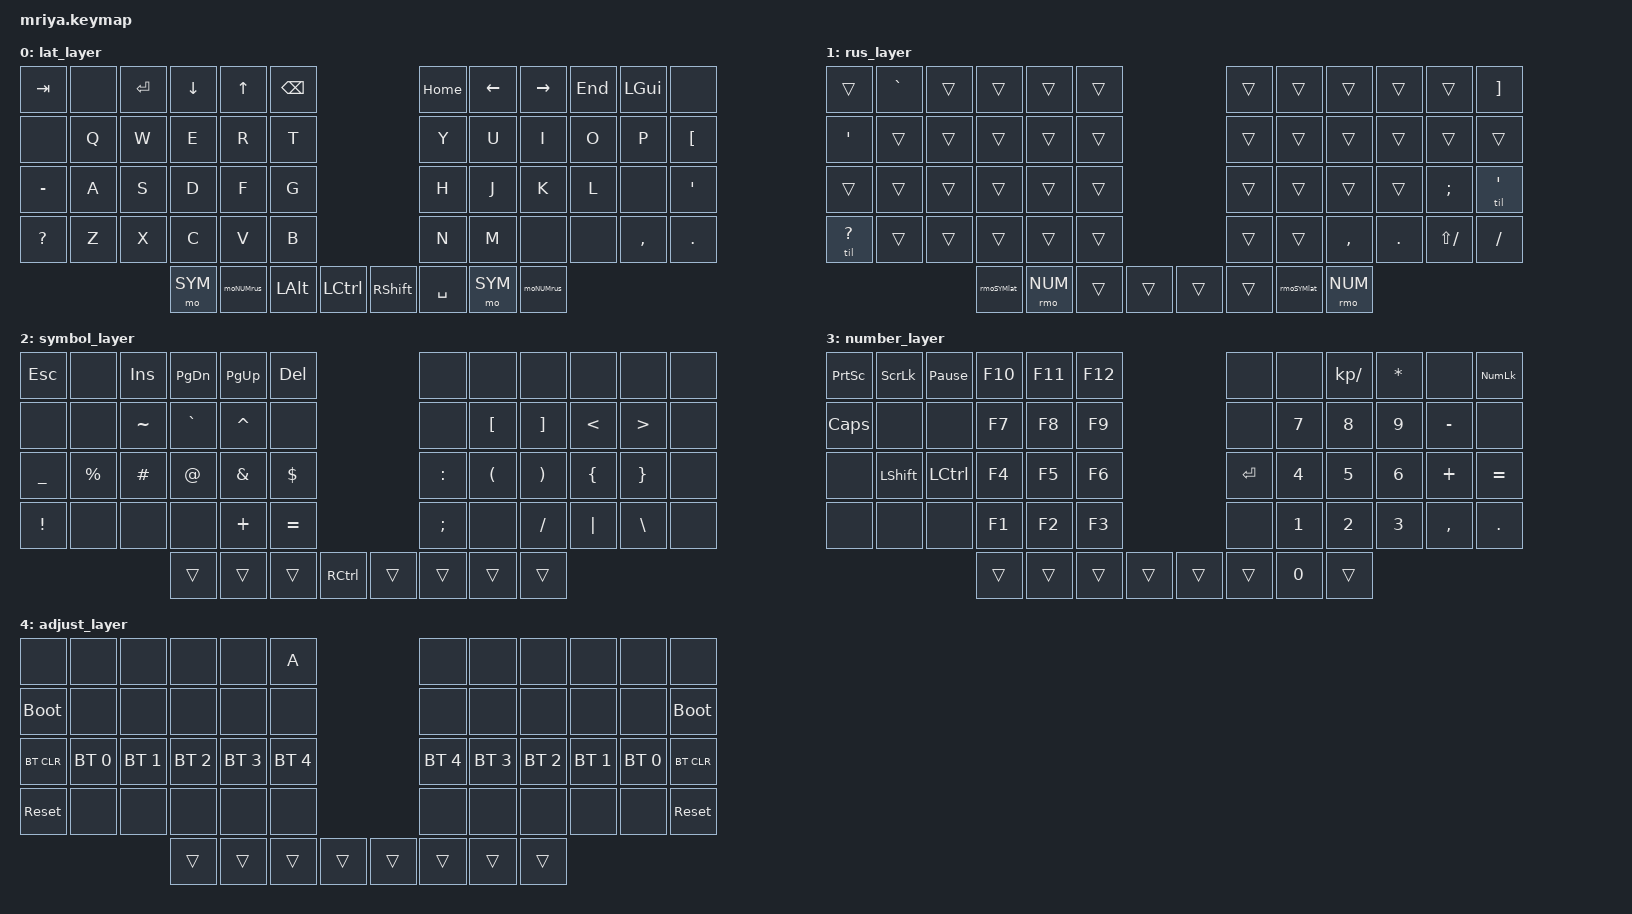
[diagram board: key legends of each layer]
/*
 * Copyright (c) 2023 Andrei Gaevskii
 *
 * SPDX-License-Identifier: MIT
 */

#include <behaviors.dtsi>
#include <dt-bindings/zmk/keys.h>
#include <dt-bindings/zmk/bt.h>

#define LAT 0
#define RUS 1
#define SYM 2
#define NUM 3
#define ADJ 4

#define LATON  &kp CAPS
#define RUSON  &kp LS(CAPS)

&lt { quick_tap_ms = <200>; };
&mt { quick_tap_ms = <200>; };

/ {
    macros {
        lat: lat {
            label = "lat";
            compatible = "zmk,behavior-macro";
            wait-ms = <0>;
            tap-ms = <0>;
            #binding-cells = <0>;
            bindings
                = <&macro_press LATON>
                , <&to LAT>
                , <&macro_release LATON>
                ;
        };
        rus: rus {
            label = "rus";
            compatible = "zmk,behavior-macro";
            wait-ms = <0>;
            tap-ms = <0>;
            #binding-cells = <0>;
            bindings
                = <&macro_press RUSON>
                , <&to RUS>
                , <&macro_release RUSON>
                ;
        };
        // tap in lat
        til: til {
            label = "til";
            compatible = "zmk,behavior-macro-one-param";
            wait-ms = <0>;
            tap-ms = <0>;
            #binding-cells = <1>;
            bindings
                = <&macro_tap LATON>
                , <&macro_param_1to1>
                , <&macro_press &kp MACRO_PLACEHOLDER>
                , <&macro_pause_for_release>
                , <&macro_param_1to1>
                , <&macro_release &kp MACRO_PLACEHOLDER>
                , <&macro_tap RUSON>
                ;
        };
        // &mo in rus
        rmo: rmo {
            label = "rmo";
            compatible = "zmk,behavior-macro-one-param";
            wait-ms = <0>;
            tap-ms = <0>;
            #binding-cells = <1>;
            bindings
                = <&macro_tap LATON>
                , <&macro_param_1to1>
                , <&macro_press &mo MACRO_PLACEHOLDER>
                , <&macro_pause_for_release>
                , <&macro_param_1to1>
                , <&macro_release &mo MACRO_PLACEHOLDER>
                , <&macro_tap RUSON>
                ;
        };
    };
    conditional_layers {
        compatible = "zmk,conditional-layers";
        tri_layer {
            if-layers = <SYM NUM>;
            then-layer = <ADJ>;
        };
    };    
    behaviors {
        moNUMrus: moNUMrus {
            compatible = "zmk,behavior-mod-morph";
            #binding-cells = <0>;
            bindings = <&mo NUM>, <&rus>;
            mods = <(MOD_LSFT|MOD_RSFT|MOD_LCTL|MOD_RCTL)>;
        };
        rmoSYMlat: rmoSYMlat {
            compatible = "zmk,behavior-mod-morph";
            #binding-cells = <0>;
            bindings = <&rmo SYM>, <&lat>;
            mods = <(MOD_LSFT|MOD_RSFT|MOD_LCTL|MOD_RCTL)>;
        };
    };    

    keymap {
        compatible = "zmk,keymap";

        lat_layer {
            bindings = <
&kp TAB       &none  &kp ENTER &kp DOWN &kp UP &kp BSPC /**********************/ &kp HOME &kp LEFT &kp RIGHT &kp END &kp LGUI  &none
&none         &kp Q  &kp W     &kp E    &kp R  &kp T    /**********************/ &kp Y    &kp U    &kp I     &kp O   &kp P     &kp LBKT
&kp MINUS     &kp A  &kp S     &kp D    &kp F  &kp G    /**********************/ &kp H    &kp J    &kp K     &kp L   &none     &kp APOS
&kp QUESTION  &kp Z  &kp X     &kp C    &kp V  &kp B    /**********************/ &kp N    &kp M    &none     &none   &kp COMMA &kp DOT

                               &mo SYM &moNUMrus &kp LALT &kp LCTRL /**/ &kp RSHFT &kp SPACE &mo SYM &moNUMrus
            >;
        };

        rus_layer {
            bindings = <
&trans        &kp GRAVE  &trans   &trans  &trans &trans /****************/ &trans &trans   &trans     &trans   &trans        &kp RBKT      
&kp APOS      &trans     &trans   &trans  &trans &trans /****************/ &trans &trans   &trans     &trans   &trans        &trans     
&trans        &trans     &trans   &trans  &trans &trans /****************/ &trans &trans   &trans     &trans   &kp SEMI      &til APOS
&til QUESTION &trans     &trans   &trans  &trans &trans /****************/ &trans &trans   &kp COMMA  &kp DOT  &kp LS(SLASH) &kp SLASH

                               &rmoSYMlat &rmo NUM &trans &trans /**/ &trans &trans &rmoSYMlat &rmo NUM 
            >;
        };

        symbol_layer {
            bindings = <
&kp ESC   &none     &kp INS   &kp PG_DN &kp PG_UP &kp DEL   /*******************/ &none     &none    &none     &none    &none    &none
&none     &none     &kp TILDE &kp GRAVE &kp CARET &none     /*******************/ &none     &kp LBKT &kp RBKT  &kp LT   &kp GT   &none
&kp UNDER &kp PRCNT &kp HASH  &kp AT    &kp AMPS  &kp DLLR  /*******************/ &kp COLON &kp LPAR &kp RPAR  &kp LBRC &kp RBRC &none
&kp EXCL  &none     &none     &none     &kp PLUS  &kp EQUAL /*******************/ &kp SEMI  &none    &kp SLASH &kp PIPE &kp BSLH &none

                              &trans    &trans    &trans    &kp RCTRL /**/ &trans &trans    &trans   &trans
            >;
        };

        number_layer {
            bindings = <
&kp PSCRN &kp SLCK  &kp PAUSE_BREAK &kp F10 &kp F11 &kp F12 /***************/ &none     &none  &kp KP_DIVIDE &kp STAR &none     &kp KP_NLCK
&kp CAPS  &none     &none           &kp F7  &kp F8  &kp F9  /***************/ &none     &kp N7 &kp N8        &kp N9   &kp MINUS &none        
&none     &kp LSHFT &kp LCTRL       &kp F4  &kp F5  &kp F6  /***************/ &kp ENTER &kp N4 &kp N5        &kp N6   &kp PLUS  &kp EQUAL
&none     &none     &none           &kp F1  &kp F2  &kp F3  /***************/ &none     &kp N1 &kp N2        &kp N3   &kp COMMA &kp DOT

                                    &trans  &trans  &trans &trans /**/ &trans &trans    &kp N0 &trans
            >;
        };

        adjust_layer {
            bindings = <
&none       &none        &none        &none        &none        &kp A        /****************/ &none        &none        &none         &none        &none        &none
&bootloader &none        &none        &none        &none        &none        /****************/ &none        &none        &none         &none        &none        &bootloader
&bt BT_CLR  &bt BT_SEL 0 &bt BT_SEL 1 &bt BT_SEL 2 &bt BT_SEL 3 &bt BT_SEL 4 /****************/ &bt BT_SEL 4 &bt BT_SEL 3 &bt BT_SEL 2  &bt BT_SEL 1 &bt BT_SEL 0 &bt BT_CLR
&sys_reset  &none        &none        &none        &none        &none        /****************/ &none        &none        &none         &none        &none        &sys_reset
                                      &trans       &trans       &trans       &trans /**/ &trans &trans       &trans       &trans
            >;
        };
    };
};
